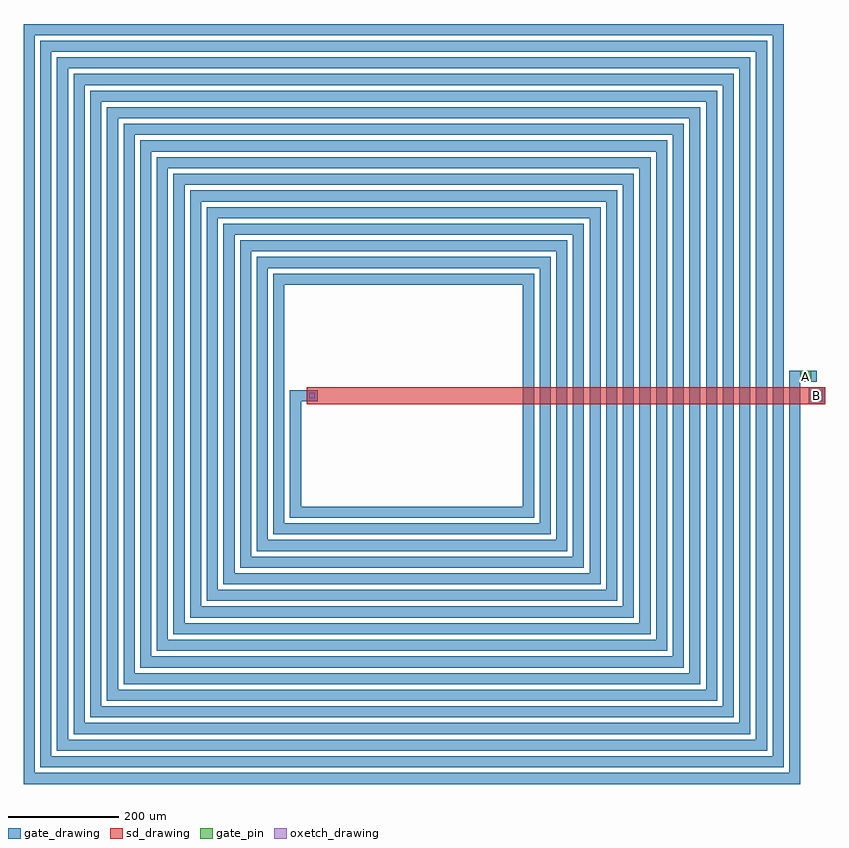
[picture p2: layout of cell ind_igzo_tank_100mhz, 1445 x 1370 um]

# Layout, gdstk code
import gdstk
lib = gdstk.Library(unit=1e-6, precision=1e-09)
def R(c, l, rs):  # rectangles x0, y0, x1, y1
    for r in rs: c.add(gdstk.rectangle(r[:2], r[2:], *l))
def P(c, l, *ps):  # polygons
    for p in ps: c.add(gdstk.Polygon(p, *l))
gate_drawing = (2, 0)
gate_pin = (2, 10)
oxetch_drawing = (5, 0)
sd_drawing = (6, 0)

ind_igzo_tank_100mhz = lib.new_cell('ind_igzo_tank_100mhz')
R(ind_igzo_tank_100mhz, gate_drawing, [(715,-15,745,15), (-220,-10,-180,10), (-190,-10,-170,10)])
P(ind_igzo_tank_100mhz, gate_drawing, [(-700,-700),(-700,670),(670,670),(670,-670),(-670,-670),(-670,640),(640,640),(640,-640),(-640,-640),(-640,610),(610,610),(610,-610),(-610,-610),(-610,580),(580,580),(580,-580),(-580,-580),(-580,550),(550,550),(550,-550),(-550,-550),(-550,520),(520,520),(520,-520),(-520,-520),(-520,490),(490,490),(490,-490),(-490,-490),(-490,460),(460,460),(460,-460),(-460,-460),(-460,430),(430,430),(430,-430),(-430,-430),(-430,400),(400,400),(400,-400),(-400,-400),(-400,370),(370,370),(370,-370),(-370,-370),(-370,340),(340,340),(340,-340),(-340,-340),(-340,310),(310,310),(310,-310),(-310,-310),(-310,280),(280,280),(280,-280),(-280,-280),(-280,250),(250,250),(250,-250),(-250,-250),(-250,220),(220,220),(220,-220),(-220,-220),(-220,1),(-200,1),(-200,-200),(200,-200),(200,200),(-230,200),(-230,-230),(230,-230),(230,230),(-260,230),(-260,-260),(260,-260),(260,260),(-290,260),(-290,-290),(290,-290),(290,290),(-320,290),(-320,-320),(320,-320),(320,320),(-350,320),(-350,-350),(350,-350),(350,350),(-380,350),(-380,-380),(380,-380),(380,380),(-410,380),(-410,-410),(410,-410),(410,410),(-440,410),(-440,-440),(440,-440),(440,440),(-470,440),(-470,-470),(470,-470),(470,470),(-500,470),(-500,-500),(500,-500),(500,500),(-530,500),(-530,-530),(530,-530),(530,530),(-560,530),(-560,-560),(560,-560),(560,560),(-590,560),(-590,-590),(590,-590),(590,590),(-620,590),(-620,-620),(620,-620),(620,620),(-650,620),(-650,-650),(650,-650),(650,650),(-680,650),(-680,-680),(680,-680),(680,45),(730,45),(730,25),(700,25),(700,-700)])
R(ind_igzo_tank_100mhz, gate_pin, [(720,-10,740,10), (700,25,720,45)])
R(ind_igzo_tank_100mhz, oxetch_drawing, [(720,-10,740,10), (-185,-5,-175,5)])
R(ind_igzo_tank_100mhz, sd_drawing, [(-190,-15,745,15)])
ind_igzo_tank_100mhz.add(gdstk.Label('A', (710,35), layer=2, texttype=10))
ind_igzo_tank_100mhz.add(gdstk.Label('B', (730,0), layer=2, texttype=10))
ind_igzo_tank_100mhz.add(gdstk.Label('ind_igzo 263.5nH / 1.44kOhm @ 100MHz / Q 0.12', (0,-750), layer=63, texttype=0))

lib.write_gds('ind_igzo_tank_100mhz.gds')
